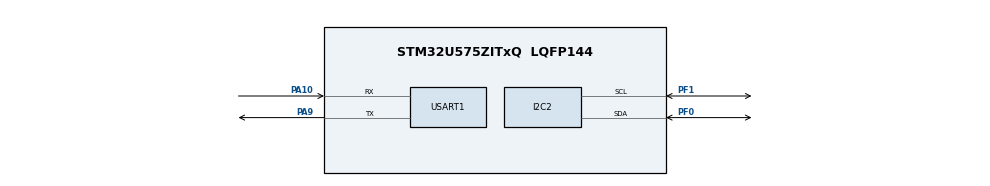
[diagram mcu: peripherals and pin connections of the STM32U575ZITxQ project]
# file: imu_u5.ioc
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CORTEX_M33_NS.userName=CORTEX_M33
I2C2.Timing=0x00000E14
Mcu.Family=STM32U5
Mcu.Name=STM32U575ZITxQ
Mcu.Package=LQFP144
NVIC.I2C2_ER_IRQn=true\:0\:0\:false\:false\:true\:true\:true\:true
NVIC.I2C2_EV_IRQn=true\:0\:0\:false\:false\:true\:true\:true\:true
NVIC.PriorityGroup=NVIC_PRIORITYGROUP_4
NVIC.TIM6_IRQn=true\:0\:0\:false\:false\:true\:true\:true\:true
PA10.Mode=Asynchronous
PA10.Signal=USART1_RX
PA9.Mode=Asynchronous
PA9.Signal=USART1_TX
PF0.GPIO_Pu=GPIO_PULLUP
PF0.Mode=I2C
PF0.Signal=I2C2_SDA
PF1.GPIO_Pu=GPIO_PULLUP
PF1.Mode=I2C
PF1.Signal=I2C2_SCL
ProjectManager.HeapSize=0x200
ProjectManager.StackSize=0x400
ProjectManager.TargetToolchain=STM32CubeIDE
RCC.ADCFreq_Value=16000000
RCC.EPOD_VALUE=4000000
RCC.HSE_VALUE=16000000
RCC.HSI48_VALUE=48000000
RCC.HSI_VALUE=16000000
RCC.LSE_VALUE=32768
RCC.LSIDIV_VALUE=32000
RCC.MSI_VALUE=4000000
RCC.USBFreq_Value=48000000
RCC.VCOOutputFreq_Value=516000000
TIM6.PeriodNoDither=9
TIM6.Prescaler=3999
USART1.VirtualMode-Asynchronous=VM_ASYNC
VP_LPBAMQUEUE_VS_QUEUE.Mode=QUEUEMODE
VP_LPBAM_VS_SIG1.Mode=SmartRun
VP_LPBAM_VS_SIG4.Mode=LPDMA1
VP_MEMORYMAP_VS_MEMORYMAP.Mode=CurAppReg
VP_PWR_VS_SECSignals.Mode=Security/Privilege
VP_TIM6_VS_ClockSourceINT.Mode=Enable_Timer
board=custom

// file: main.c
/* USER CODE BEGIN Header */
/**
  ******************************************************************************
  * @file           : main.c
  * @brief          : Main program body
  ******************************************************************************
  * @attention
  *
  * Copyright (c) 2026 STMicroelectronics.
  * All rights reserved.
  *
  * This software is licensed under terms that can be found in the LICENSE file
  * in the root directory of this software component.
  * If no LICENSE file comes with this software, it is provided AS-IS.
  *
  ******************************************************************************
  */
/* USER CODE END Header */
#include "main.h"

/* USER CODE BEGIN Includes */
#include "bmi088.h"
#include "i2c_recovery.h"
#include <stdio.h>
/* USER CODE END Includes */

/* USER CODE BEGIN PD */
#define GYRO_INIT_ATTEMPTS (3U)    /* Init tries before giving up (engineering choice) */
#define GYRO_RETRY_PERIOD_MS  (1000U)  /* Re-init interval while not NORMAL       */
#define PRINT_PERIOD_MS       (100U)   /* Debug print to PuTTY: 10 lines/second   */
#define UART_TX_TIMEOUT_MS    (20U)    /* ~90 chars at 115200 baud take ~8 ms     */
/* USER CODE END PD */

I2C_HandleTypeDef hi2c2;

TIM_HandleTypeDef htim6;

UART_HandleTypeDef huart1;

/* USER CODE BEGIN PV */
static bmi088_gyro_t gyro;    /* BMI088 gyro state; zero (UNINIT) at start-up */
static volatile uint32_t gyro_sample_count;    /* Completed reads; ~100 per second */
static const i2c_recovery_pins_t i2c2_pins = {GPIOF, GPIO_PIN_1, GPIOF, GPIO_PIN_0};    /* SCL PF1, SDA PF0 */
static uint32_t i2c_reset_count;       /* Peripheral resets, for telemetry      */
static uint32_t i2c_bus_clear_count;   /* Bus clears, for telemetry             */
static i2c_recovery_status_t i2c_recovery_status;    /* Last recovery result    */
/* USER CODE END PV */

void SystemClock_Config(void);
static void MX_GPIO_Init(void);
static void MX_I2C2_Init(void);
static void MX_TIM6_Init(void);
static void MX_USART1_UART_Init(void);

/* USER CODE BEGIN 0 */

/**
  * @brief  Print one line of gyro data to the ST-LINK virtual COM port
  *         (USART1, 115200 8N1), e.g. for PuTTY.
  * @note   The gyro fields are copied with interrupts briefly disabled, so
  *         the line never mixes two samples (TIM6 / I2C interrupts update
  *         them). Main-loop use only: HAL_UART_Transmit() blocks ~8 ms.
  * @param  init_status  Last result of bmi088_gyro_init().
  */
static void print_gyro(bmi088_status_t init_status)
{
  char line[128];
  int len;
  uint32_t primask;
  uint32_t count;
  bmi088_dev_state_t state;
  uint8_t faults;
  int16_t raw[BMI088_AXES];
  bmi088_float32_t rate[BMI088_AXES];
  uint8_t axis;

  primask = __get_PRIMASK();
  __disable_irq();
  count = gyro_sample_count;
  state = gyro.state;
  faults = gyro.fault_count;
  for (axis = 0U; axis < BMI088_AXES; axis++)
  {
    raw[axis] = gyro.sample[axis];
    rate[axis] = gyro.angular_velocity[axis];
  }
  __set_PRIMASK(primask);

  len = snprintf(line, sizeof(line),
                 "n=%lu st=%u fc=%u init=%u  X=%+.6f Y=%+.6f Z=%+.6f rad/s  raw=%d %d %d\r\n",
                 (unsigned long)count, (unsigned int)state, (unsigned int)faults,
                 (unsigned int)init_status,
                 (double)rate[0], (double)rate[1], (double)rate[2],
                 (int)raw[0], (int)raw[1], (int)raw[2]);

  if (len > 0)
  {
    if ((size_t)len >= sizeof(line))
    {
      len = (int)sizeof(line) - 1;    /* truncated: send what fits */
    }
    (void)HAL_UART_Transmit(&huart1, (const uint8_t *)line, (uint16_t)len,
                            UART_TX_TIMEOUT_MS);
  }
}

/* USER CODE END 0 */

int main(void)
{

  /* USER CODE BEGIN 1 */
  bmi088_status_t gyro_status = BMI088_ERR_STATE;    /* not initialised yet */
  uint8_t gyro_attempt = 0U;
  uint32_t now;
  uint32_t gyro_retry_tick;
  uint32_t print_tick;
  /* USER CODE END 1 */

  /* MCU Configuration--------------------------------------------------------*/

  /* Reset of all peripherals, Initializes the Flash interface and the Systick. */
  HAL_Init();

  /* Configure the system clock */
  SystemClock_Config();

  /* Initialize all configured peripherals */
  MX_GPIO_Init();
  MX_I2C2_Init();
  MX_TIM6_Init();
  MX_USART1_UART_Init();
  /* USER CODE BEGIN 2 */
  while ((gyro_status != BMI088_OK) && (gyro_attempt < GYRO_INIT_ATTEMPTS))
  {
    gyro_status = bmi088_gyro_init(&gyro, &hi2c2);
    gyro_attempt++;
  }

  if (gyro_status != BMI088_OK)
  {
    /* Gyro unavailable after all attempts: gyro.state is
     * BMI088_STATE_ERROR, so no gyro reads are started.
     * The rest of the system keeps running; the main loop retries. */
  }

  gyro_retry_tick = HAL_GetTick();
  print_tick = gyro_retry_tick;

  /* Start the 100 Hz timer: each TIM6 interrupt starts one gyro read.
   * Started even if init failed; reads begin once a re-init succeeds. */
  if (HAL_TIM_Base_Start_IT(&htim6) != HAL_OK)
  {
    Error_Handler();
  }
  /* USER CODE END 2 */

  /* Infinite loop */
  while (1)
  {

    /* USER CODE BEGIN 3 */
    /* Unsigned subtraction stays correct when HAL_GetTick() wraps (~49.7 days). */
    now = HAL_GetTick();

    /* Gyro reads are started by the TIM6 interrupt, not here.
     * Recovery: while the gyro is not NORMAL, one re-init attempt per second.
     * No read is started during re-init: start_read requires NORMAL, and
     * init sets NORMAL only after its last register access. */
    if ((gyro.state != BMI088_STATE_NORMAL) &&
        ((now - gyro_retry_tick) >= GYRO_RETRY_PERIOD_MS))
    {
      gyro_retry_tick = now;

      /* Recovery ladder: reset the I2C peripheral, clear the bus if a line is
       * still low, then re-initialise the sensor. No read can start meanwhile:
       * start_read requires NORMAL. */
      i2c_recovery_status = i2c_recovery_reset_peripheral(&hi2c2);
      i2c_reset_count++;

      if ((i2c_recovery_status == I2C_RECOVERY_OK) &&
          (i2c_recovery_lines_high(&i2c2_pins) == 0U))
      {
        i2c_recovery_status = i2c_recovery_clear_bus(&hi2c2, &i2c2_pins);
        i2c_bus_clear_count++;
      }

      gyro_status = bmi088_gyro_init(&gyro, &hi2c2);
    }

    /* Debug output only (not part of the data path): 10 lines per second. */
    if ((now - print_tick) >= PRINT_PERIOD_MS)
    {
      print_tick = now;
      print_gyro(gyro_status);
    }
  }
  /* USER CODE END 3 */
}

void SystemClock_Config(void)
{
  RCC_OscInitTypeDef RCC_OscInitStruct = {0};
  RCC_ClkInitTypeDef RCC_ClkInitStruct = {0};

  /** Configure the main internal regulator output voltage
  */
  if (HAL_PWREx_ControlVoltageScaling(PWR_REGULATOR_VOLTAGE_SCALE4) != HAL_OK)
  {
    Error_Handler();
  }

  /** Initializes the CPU, AHB and APB buses clocks
  */
  RCC_OscInitStruct.OscillatorType = RCC_OSCILLATORTYPE_MSI;
  RCC_OscInitStruct.MSIState = RCC_MSI_ON;
  RCC_OscInitStruct.MSICalibrationValue = RCC_MSICALIBRATION_DEFAULT;
  RCC_OscInitStruct.MSIClockRange = RCC_MSIRANGE_4;
  RCC_OscInitStruct.PLL.PLLState = RCC_PLL_NONE;
  if (HAL_RCC_OscConfig(&RCC_OscInitStruct) != HAL_OK)
  {
    Error_Handler();
  }

  /** Initializes the CPU, AHB and APB buses clocks
  */
  RCC_ClkInitStruct.ClockType = RCC_CLOCKTYPE_HCLK|RCC_CLOCKTYPE_SYSCLK
                              |RCC_CLOCKTYPE_PCLK1|RCC_CLOCKTYPE_PCLK2
                              |RCC_CLOCKTYPE_PCLK3;
  RCC_ClkInitStruct.SYSCLKSource = RCC_SYSCLKSOURCE_MSI;
  RCC_ClkInitStruct.AHBCLKDivider = RCC_SYSCLK_DIV1;
  RCC_ClkInitStruct.APB1CLKDivider = RCC_HCLK_DIV1;
  RCC_ClkInitStruct.APB2CLKDivider = RCC_HCLK_DIV1;
  RCC_ClkInitStruct.APB3CLKDivider = RCC_HCLK_DIV1;

  if (HAL_RCC_ClockConfig(&RCC_ClkInitStruct, FLASH_LATENCY_0) != HAL_OK)
  {
    Error_Handler();
  }
}

static void MX_I2C2_Init(void)
{

  hi2c2.Instance = I2C2;
  hi2c2.Init.Timing = 0x00000E14;
  hi2c2.Init.OwnAddress1 = 0;
  hi2c2.Init.AddressingMode = I2C_ADDRESSINGMODE_7BIT;
  hi2c2.Init.DualAddressMode = I2C_DUALADDRESS_DISABLE;
  hi2c2.Init.OwnAddress2 = 0;
  hi2c2.Init.OwnAddress2Masks = I2C_OA2_NOMASK;
  hi2c2.Init.GeneralCallMode = I2C_GENERALCALL_DISABLE;
  hi2c2.Init.NoStretchMode = I2C_NOSTRETCH_DISABLE;
  if (HAL_I2C_Init(&hi2c2) != HAL_OK)
  {
    Error_Handler();
  }

  /** Configure Analogue filter
  */
  if (HAL_I2CEx_ConfigAnalogFilter(&hi2c2, I2C_ANALOGFILTER_ENABLE) != HAL_OK)
  {
    Error_Handler();
  }

  /** Configure Digital filter
  */
  if (HAL_I2CEx_ConfigDigitalFilter(&hi2c2, 0) != HAL_OK)
  {
    Error_Handler();
  }

}

static void MX_TIM6_Init(void)
{

  TIM_MasterConfigTypeDef sMasterConfig = {0};

  htim6.Instance = TIM6;
  htim6.Init.Prescaler = 3999;
  htim6.Init.CounterMode = TIM_COUNTERMODE_UP;
  htim6.Init.Period = 9;
  htim6.Init.AutoReloadPreload = TIM_AUTORELOAD_PRELOAD_DISABLE;
  if (HAL_TIM_Base_Init(&htim6) != HAL_OK)
  {
    Error_Handler();
  }
  sMasterConfig.MasterOutputTrigger = TIM_TRGO_RESET;
  sMasterConfig.MasterSlaveMode = TIM_MASTERSLAVEMODE_DISABLE;
  if (HAL_TIMEx_MasterConfigSynchronization(&htim6, &sMasterConfig) != HAL_OK)
  {
    Error_Handler();
  }

}

static void MX_USART1_UART_Init(void)
{

  huart1.Instance = USART1;
  huart1.Init.BaudRate = 115200;
  huart1.Init.WordLength = UART_WORDLENGTH_8B;
  huart1.Init.StopBits = UART_STOPBITS_1;
  huart1.Init.Parity = UART_PARITY_NONE;
  huart1.Init.Mode = UART_MODE_TX_RX;
  huart1.Init.HwFlowCtl = UART_HWCONTROL_NONE;
  huart1.Init.OverSampling = UART_OVERSAMPLING_16;
  huart1.Init.OneBitSampling = UART_ONE_BIT_SAMPLE_DISABLE;
  huart1.Init.ClockPrescaler = UART_PRESCALER_DIV1;
  huart1.AdvancedInit.AdvFeatureInit = UART_ADVFEATURE_NO_INIT;
  if (HAL_UART_Init(&huart1) != HAL_OK)
  {
    Error_Handler();
  }
  if (HAL_UARTEx_SetTxFifoThreshold(&huart1, UART_TXFIFO_THRESHOLD_1_8) != HAL_OK)
  {
    Error_Handler();
  }
  if (HAL_UARTEx_SetRxFifoThreshold(&huart1, UART_RXFIFO_THRESHOLD_1_8) != HAL_OK)
  {
    Error_Handler();
  }
  if (HAL_UARTEx_DisableFifoMode(&huart1) != HAL_OK)
  {
    Error_Handler();
  }

}

static void MX_GPIO_Init(void)
{

  /* GPIO Ports Clock Enable */
  __HAL_RCC_GPIOF_CLK_ENABLE();
  __HAL_RCC_GPIOA_CLK_ENABLE();

}

/* USER CODE BEGIN 4 */

/**
  * @brief  TIM6 update interrupt, every 10 ms: start one gyro read.
  * @param  htim Timer that overflowed.
  */
void HAL_TIM_PeriodElapsedCallback(TIM_HandleTypeDef *htim)
{
  if (htim->Instance == TIM6)
  {
    (void)bmi088_gyro_start_read(&gyro);
  }
}

/**
  * @brief  I2C memory read finished: process the gyro sample.
  * @param  hi2c I2C bus that finished.
  */
void HAL_I2C_MemRxCpltCallback(I2C_HandleTypeDef *hi2c)
{
  if (hi2c == &hi2c2)
  {
    (void)bmi088_gyro_read_complete(&gyro);
    gyro_sample_count++;
  }
}

/**
  * @brief  I2C transfer failed: count the gyro fault.
  * @param  hi2c I2C bus that reported the error.
  */
void HAL_I2C_ErrorCallback(I2C_HandleTypeDef *hi2c)
{
  if (hi2c == &hi2c2)
  {
    (void)bmi088_gyro_read_error(&gyro);
  }
}

/* USER CODE END 4 */

void Error_Handler(void)
{
  __disable_irq();
  while (1)
  {
  }
}
